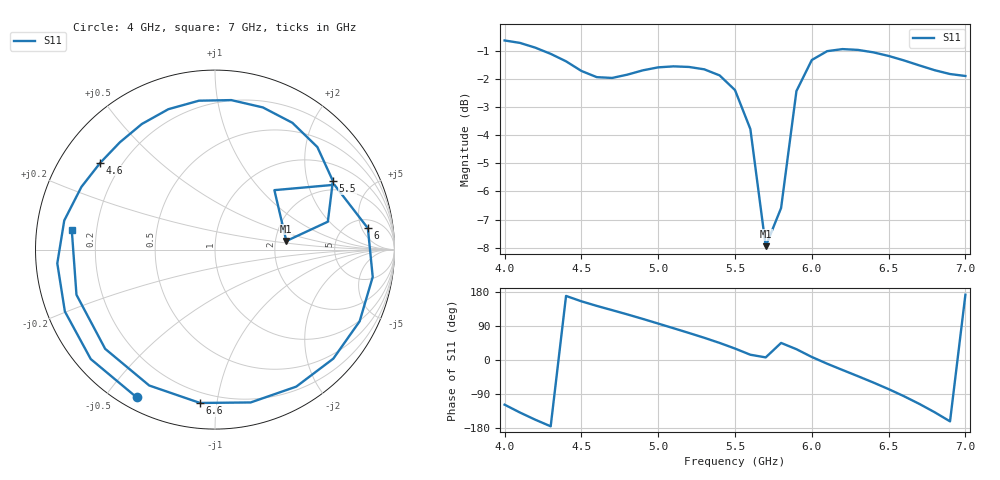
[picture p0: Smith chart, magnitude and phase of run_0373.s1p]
! Touchstone file exported from HFSS 2024.2.0
!  File:  C:/Users/wsak9/Desktop/Sim Fast/Widenad Patch/WP_AI_V1_sweep.aedt
!  Generated:  06:54:26 AM Oct 14, 2026
!  Design:  A1_model
!  Project:  WP_AI_V1_sweep
!  Setup:  Setup1
!  Solution:  Sweep
! Variables:
!  Air_gap = 3.17mm
!  Curve_Amp1 = 1.65
!  Curve_len1 = 1
!  Curve_pos = 10.75mm
!  Extra = 7.8mm
!  H_sub = 0.79mm
!  L_Patch = 17.5mm
!  L_Patch1 = 20.07mm
!  Sx = 1.44mm
!  Sy = 4.97mm
!  WS = 0.8mm
!  W_Patch = 22.44mm
!  W_Patch1 = 12.27mm
!Data is not renormalized
# GHz S MA
! Terminal data exported
! Port[1] = 1
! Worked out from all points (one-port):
!   31 points, 4 GHz to 7 GHz, reference per port
!   lowest |S11| = -8.0 dB at 5.7 GHz (marker M1), VSWR 2.34
!   |S11| at or under -10 dB: nowhere
!   S11 on the Smith chart (normalised r, x): 4 GHz: 0.05, -0.60; 4.6 GHz: 0.12, +0.33; 5.5 GHz: 1.60, +2.90; 6 GHz: 7.20, +6.58; 6.6 GHz: 0.14, -0.90; 7 GHz: 0.11, +0.07
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4  0.9319 -117.9
4.1  0.9226 -138.6
4.2  0.9047 -157.6
4.3  0.882 -175.0
4.4  0.8554 169.1
4.5  0.8222 154.9
4.6  0.8015 142.8
4.8  0.8099 120.2
5  0.8344 96.1
5.2  0.8358 71.4
5.3  0.8277 58.6
5.4  0.8073 45.0
5.5  0.7601 30.2
5.6  0.6477 13.9
5.7  0.4003 6.9
5.8  0.4682 45.0
5.9  0.757 28.5
6  0.86 8.0
6.1  0.8918 -9.8
6.2  0.8994 -26.4
6.3  0.8965 -42.7
6.4  0.8876 -59.3
6.5  0.8745 -76.9
6.6  0.8585 -95.6
6.7  0.8412 -115.8
6.8  0.8247 -137.9
6.9  0.8118 -161.9
7  0.8054 172.2
